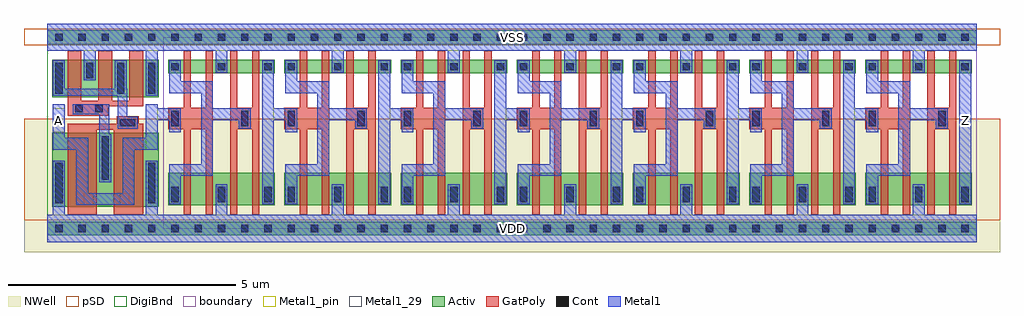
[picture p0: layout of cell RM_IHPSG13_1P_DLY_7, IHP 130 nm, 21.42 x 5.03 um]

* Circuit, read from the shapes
.subckt RM_IHPSG13_1P_DLY_7 A VDD VSS Z
XM1 VSS n1 n2 VSS sg13_lv_nmos w=0.83u l=0.3u m=3
XM2 n3 A n4 VSS sg13_lv_nmos w=0.3u l=0.16u
XM3 VSS A n3 VSS sg13_lv_nmos w=0.3u l=0.16u
XM4 n5 n4 VSS VSS sg13_lv_nmos w=0.3u l=0.16u
XM5 RSC_IHPSG13_CDLYX1_6/A n4 n5 VSS sg13_lv_nmos w=0.3u l=0.16u
XM6 n6 RSC_IHPSG13_CDLYX1_6/A n7 VSS sg13_lv_nmos w=0.3u l=0.16u
XM7 VSS RSC_IHPSG13_CDLYX1_6/A n6 VSS sg13_lv_nmos w=0.3u l=0.16u
XM8 n8 n7 VSS VSS sg13_lv_nmos w=0.3u l=0.16u
XM9 RSC_IHPSG13_CDLYX1_5/A n7 n8 VSS sg13_lv_nmos w=0.3u l=0.16u
XM10 n9 RSC_IHPSG13_CDLYX1_5/A n10 VSS sg13_lv_nmos w=0.3u l=0.16u
XM11 VSS RSC_IHPSG13_CDLYX1_5/A n9 VSS sg13_lv_nmos w=0.3u l=0.16u
XM12 n11 n10 VSS VSS sg13_lv_nmos w=0.3u l=0.16u
XM13 RSC_IHPSG13_CDLYX1_4/A n10 n11 VSS sg13_lv_nmos w=0.3u l=0.16u
XM14 n12 RSC_IHPSG13_CDLYX1_4/A n13 VSS sg13_lv_nmos w=0.3u l=0.16u
XM15 VSS RSC_IHPSG13_CDLYX1_4/A n12 VSS sg13_lv_nmos w=0.3u l=0.16u
XM16 n14 n13 VSS VSS sg13_lv_nmos w=0.3u l=0.16u
XM17 RSC_IHPSG13_CDLYX1_3/A n13 n14 VSS sg13_lv_nmos w=0.3u l=0.16u
XM18 n15 RSC_IHPSG13_CDLYX1_3/A n16 VSS sg13_lv_nmos w=0.3u l=0.16u
XM19 VSS RSC_IHPSG13_CDLYX1_3/A n15 VSS sg13_lv_nmos w=0.3u l=0.16u
XM20 n17 n16 VSS VSS sg13_lv_nmos w=0.3u l=0.16u
XM21 RSC_IHPSG13_CDLYX1_2/A n16 n17 VSS sg13_lv_nmos w=0.3u l=0.16u
XM22 n18 RSC_IHPSG13_CDLYX1_2/A n19 VSS sg13_lv_nmos w=0.3u l=0.16u
XM23 VSS RSC_IHPSG13_CDLYX1_2/A n18 VSS sg13_lv_nmos w=0.3u l=0.16u
XM24 n20 n19 VSS VSS sg13_lv_nmos w=0.3u l=0.16u
XM25 RSC_IHPSG13_CDLYX1_1/A n19 n20 VSS sg13_lv_nmos w=0.3u l=0.16u
XM26 n21 RSC_IHPSG13_CDLYX1_1/A n22 VSS sg13_lv_nmos w=0.3u l=0.16u
XM27 VSS RSC_IHPSG13_CDLYX1_1/A n21 VSS sg13_lv_nmos w=0.3u l=0.16u
XM28 n23 n22 VSS VSS sg13_lv_nmos w=0.3u l=0.16u
XM29 Z n22 n23 VSS sg13_lv_nmos w=0.3u l=0.16u
XM30 n1 n2 VDD VDD sg13_lv_pmos w=1.62u l=0.64u m=2
XM31 n24 A n4 VDD sg13_lv_pmos w=0.72u l=0.16u
XM32 VDD A n24 VDD sg13_lv_pmos w=0.72u l=0.16u
XM33 n25 n4 VDD VDD sg13_lv_pmos w=0.72u l=0.16u
XM34 RSC_IHPSG13_CDLYX1_6/A n4 n25 VDD sg13_lv_pmos w=0.72u l=0.16u
XM35 n26 RSC_IHPSG13_CDLYX1_6/A n7 VDD sg13_lv_pmos w=0.72u l=0.16u
XM36 VDD RSC_IHPSG13_CDLYX1_6/A n26 VDD sg13_lv_pmos w=0.72u l=0.16u
XM37 n27 n7 VDD VDD sg13_lv_pmos w=0.72u l=0.16u
XM38 RSC_IHPSG13_CDLYX1_5/A n7 n27 VDD sg13_lv_pmos w=0.72u l=0.16u
XM39 n28 RSC_IHPSG13_CDLYX1_5/A n10 VDD sg13_lv_pmos w=0.72u l=0.16u
XM40 VDD RSC_IHPSG13_CDLYX1_5/A n28 VDD sg13_lv_pmos w=0.72u l=0.16u
XM41 n29 n10 VDD VDD sg13_lv_pmos w=0.72u l=0.16u
XM42 RSC_IHPSG13_CDLYX1_4/A n10 n29 VDD sg13_lv_pmos w=0.72u l=0.16u
XM43 n30 RSC_IHPSG13_CDLYX1_4/A n13 VDD sg13_lv_pmos w=0.72u l=0.16u
XM44 VDD RSC_IHPSG13_CDLYX1_4/A n30 VDD sg13_lv_pmos w=0.72u l=0.16u
XM45 n31 n13 VDD VDD sg13_lv_pmos w=0.72u l=0.16u
XM46 RSC_IHPSG13_CDLYX1_3/A n13 n31 VDD sg13_lv_pmos w=0.72u l=0.16u
XM47 n32 RSC_IHPSG13_CDLYX1_3/A n16 VDD sg13_lv_pmos w=0.72u l=0.16u
XM48 VDD RSC_IHPSG13_CDLYX1_3/A n32 VDD sg13_lv_pmos w=0.72u l=0.16u
XM49 n33 n16 VDD VDD sg13_lv_pmos w=0.72u l=0.16u
XM50 RSC_IHPSG13_CDLYX1_2/A n16 n33 VDD sg13_lv_pmos w=0.72u l=0.16u
XM51 n34 RSC_IHPSG13_CDLYX1_2/A n19 VDD sg13_lv_pmos w=0.72u l=0.16u
XM52 VDD RSC_IHPSG13_CDLYX1_2/A n34 VDD sg13_lv_pmos w=0.72u l=0.16u
XM53 n35 n19 VDD VDD sg13_lv_pmos w=0.72u l=0.16u
XM54 RSC_IHPSG13_CDLYX1_1/A n19 n35 VDD sg13_lv_pmos w=0.72u l=0.16u
XM55 n36 RSC_IHPSG13_CDLYX1_1/A n22 VDD sg13_lv_pmos w=0.72u l=0.16u
XM56 VDD RSC_IHPSG13_CDLYX1_1/A n36 VDD sg13_lv_pmos w=0.72u l=0.16u
XM57 n37 n22 VDD VDD sg13_lv_pmos w=0.72u l=0.16u
XM58 Z n22 n37 VDD sg13_lv_pmos w=0.72u l=0.16u
.ends

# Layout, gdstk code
from math import pi, radians
import gdstk
lib = gdstk.Library(unit=1e-6, precision=1e-09)
def R(c, l, rs):  # rectangles x0, y0, x1, y1
    for r in rs: c.add(gdstk.rectangle(r[:2], r[2:], *l))
def A(c, l, x, y, w, h, nx, ny, dx, dy):  # array of equal rectangles
    R(c, l, [(x+i*dx, y+j*dy, x+i*dx+w, y+j*dy+h) for i in range(nx) for j in range(ny)])
def P(c, l, *ps):  # polygons
    for p in ps: c.add(gdstk.Polygon(p, *l))
Activ = (1, 0)
GatPoly = (5, 0)
Cont = (6, 0)
Metal1 = (8, 0)
Metal1_pin = (8, 2)
Metal1_29 = (8, 29)
pSD = (14, 0)
DigiBnd = (16, 0)
NWell = (31, 0)
boundary = (189, 4)

lvsres_db_0x04007e9a = lib.new_cell('lvsres_db_0x04007e9a')
R(lvsres_db_0x04007e9a, Metal1, [(-0.5,0,0.5,0.26)])
R(lvsres_db_0x04007e9a, Metal1_pin, [(-0.5,0,-0.3,0.26), (0.3,0,0.5,0.26)])
R(lvsres_db_0x04007e9a, Metal1_29, [(-0.3,0,0.3,0.26)])
lvsres_db_0x04007e9a.add(gdstk.Label('PLUS', (-0.4,0.13), layer=63, texttype=0))
lvsres_db_0x04007e9a.add(gdstk.Label('MINUS', (0.4,0.13), layer=63, texttype=0))

rsc_ihpsg13_cdlyx1_dummy = lib.new_cell('RSC_IHPSG13_CDLYX1_DUMMY')
R(rsc_ihpsg13_cdlyx1_dummy, Activ, [(0,-0.15,2.55,0.15), (0.105,0.49,2.445,1.32), (0.105,2.1,2.445,3.72), (0,4.05,2.55,4.35)])
P(rsc_ihpsg13_cdlyx1_dummy, GatPoly, [(1.525,1.73),(1.525,1.9),(0.445,1.9),(0.445,3.9),(1.085,3.9),(1.085,2.03),(1.465,2.03),(1.465,3.9),(2.105,3.9),(2.105,1.9),(2.005,1.9),(2.005,1.73)],
  [(0.445,0.3),(0.445,1.72),(1.34,1.72),(1.34,1.52),(2.105,1.52),(2.105,0.3),(1.805,0.3),(1.805,1.39),(1.425,1.39),(1.425,0.3),(1.125,0.3),(1.125,1.39),(0.745,1.39),(0.745,0.3)])
A(rsc_ihpsg13_cdlyx1_dummy, Cont, 0.175, -0.08, 0.16, 0.16, 5, 2, 0.51, 4.2)
R(rsc_ihpsg13_cdlyx1_dummy, Cont, [(0.175,0.56,0.335,1.24), (0.855,0.56,1.015,0.9), (1.535,0.56,1.695,1.24), (2.215,0.56,2.375,1.24), (0.615,1.49,0.775,1.65), (1.055,1.49,1.215,1.65), (1.595,1.8,1.935,1.96), (1.195,2.175,1.355,3.13), (0.175,2.76,0.335,3.65), (2.215,2.76,2.375,3.65)])
R(rsc_ihpsg13_cdlyx1_dummy, Metal1, [(0.125,1.47,0.385,2.465), (2.165,1.47,2.425,2.465), (0.125,2.205,0.895,2.465), (0.635,2.205,0.895,3.68), (1.655,2.205,1.915,3.68), (1.655,2.205,2.425,2.465), (0.635,3.42,1.915,3.68)])
P(rsc_ihpsg13_cdlyx1_dummy, Metal1, [(0,-0.3),(0,0.3),(0.805,0.3),(0.805,0.95),(1.065,0.95),(1.065,0.3),(2.165,0.3),(2.165,1.29),(2.425,1.29),(2.425,0.3),(2.55,0.3),(2.55,-0.3)],
  [(0.125,2.71),(0.125,3.9),(0,3.9),(0,4.5),(2.55,4.5),(2.55,3.9),(2.425,3.9),(2.425,2.71),(2.165,2.71),(2.165,3.9),(0.385,3.9),(0.385,2.71)],
  [(0.565,1.47),(0.565,1.69),(1.145,1.69),(1.145,3.18),(1.405,3.18),(1.405,2.125),(1.365,2.125),(1.365,1.47)],
  [(0.125,0.51),(0.125,1.29),(1.545,1.29),(1.545,2.01),(1.985,2.01),(1.985,1.75),(1.755,1.75),(1.755,1.13),(1.745,1.13),(1.745,0.51),(1.485,0.51),(1.485,1.13),(0.385,1.13),(0.385,0.51)])
R(rsc_ihpsg13_cdlyx1_dummy, Metal1_pin, [(0,-0.3,2.55,0.3), (2.165,1.47,2.425,2.465), (0.125,1.56,0.385,2.09), (0,3.9,2.55,4.5)])
R(rsc_ihpsg13_cdlyx1_dummy, pSD, [(-0.51,-0.18,3.06,0.18), (-0.51,1.785,3.06,4.02)])
R(rsc_ihpsg13_cdlyx1_dummy, DigiBnd, [(0,-0.3,2.55,4.5)])
R(rsc_ihpsg13_cdlyx1_dummy, NWell, [(-0.51,1.785,3.06,4.725)])
rsc_ihpsg13_cdlyx1_dummy.add(gdstk.Reference(lvsres_db_0x04007e9a, (1.305,3.68), rotation=pi))
rsc_ihpsg13_cdlyx1_dummy.add(gdstk.Label('VSS!', (1.155,0.005), layer=8, texttype=2))
rsc_ihpsg13_cdlyx1_dummy.add(gdstk.Label('VDD!', (0.84,4.2), layer=8, texttype=2))
rsc_ihpsg13_cdlyx1_dummy.add(gdstk.Label('Z', (2.3,1.755), layer=8, texttype=25))
rsc_ihpsg13_cdlyx1_dummy.add(gdstk.Label('A', (0.265,1.785), layer=8, texttype=25))

rsc_ihpsg13_cdlyx1 = lib.new_cell('RSC_IHPSG13_CDLYX1')
R(rsc_ihpsg13_cdlyx1, Activ, [(0,-0.15,2.55,0.15), (0.105,0.49,2.445,0.79), (0.105,2.97,2.445,3.69), (0,4.05,2.55,4.35)])
P(rsc_ihpsg13_cdlyx1, GatPoly, [(0.445,0.3),(0.445,1.545),(0.105,1.545),(0.105,2.025),(0.445,2.025),(0.445,3.9),(0.605,3.9),(0.605,2.025),(0.925,2.025),(0.925,3.9),(1.085,3.9),(1.085,0.3),(0.925,0.3),(0.925,1.545),(0.605,1.545),(0.605,0.3)],
  [(1.465,0.3),(1.465,3.9),(1.625,3.9),(1.625,2.025),(1.945,2.025),(1.945,3.9),(2.105,3.9),(2.105,0.3),(1.945,0.3),(1.945,1.545),(1.625,1.545),(1.625,0.3)])
A(rsc_ihpsg13_cdlyx1, Cont, 0.175, -0.08, 0.16, 0.16, 5, 2, 0.51, 4.2)
A(rsc_ihpsg13_cdlyx1, Cont, 0.175, 0.57, 0.16, 0.16, 3, 1, 1.02, 0)
A(rsc_ihpsg13_cdlyx1, Cont, 0.175, 3.28, 0.16, 0.34, 3, 1, 1.02, 0)
R(rsc_ihpsg13_cdlyx1, Cont, [(0.175,1.615,0.335,1.955), (1.705,1.615,1.865,1.955)])
R(rsc_ihpsg13_cdlyx1, Metal1, [(0,-0.3,2.55,0.3), (1.145,0.3,1.405,0.78), (2.165,0.51,2.425,3.67), (0.125,1.56,0.385,2.09)])
P(rsc_ihpsg13_cdlyx1, Metal1, [(1.145,3.23),(1.145,3.9),(0,3.9),(0,4.5),(2.55,4.5),(2.55,3.9),(1.405,3.9),(1.405,3.23)],
  [(0.125,0.51),(0.125,1.23),(0.825,1.23),(0.825,2.79),(0.125,2.79),(0.125,3.67),(0.385,3.67),(0.385,3.04),(1.085,3.04),(1.085,1.82),(1.655,1.82),(1.655,2.005),(1.915,2.005),(1.915,1.56),(1.085,1.56),(1.085,0.97),(0.385,0.97),(0.385,0.51)])
R(rsc_ihpsg13_cdlyx1, Metal1_pin, [(0,-0.3,2.55,0.3), (2.165,0.51,2.425,3.67), (0.125,1.56,0.385,2.09), (0,3.9,2.55,4.5)])
R(rsc_ihpsg13_cdlyx1, pSD, [(-0.51,-0.18,3.06,0.18), (-0.51,1.785,3.06,4.02)])
R(rsc_ihpsg13_cdlyx1, DigiBnd, [(0,-0.3,2.55,4.5)])
R(rsc_ihpsg13_cdlyx1, NWell, [(-0.51,1.785,3.06,4.725)])
R(rsc_ihpsg13_cdlyx1, boundary, [(0,0,2.55,4.2)])
rsc_ihpsg13_cdlyx1.add(gdstk.Label('Z', (2.3,1.755), layer=8, texttype=25))
rsc_ihpsg13_cdlyx1.add(gdstk.Label('VSS!', (0.465,0), layer=8, texttype=25))
rsc_ihpsg13_cdlyx1.add(gdstk.Label('A', (0.265,1.785), layer=8, texttype=25))
rsc_ihpsg13_cdlyx1.add(gdstk.Label('VDD!', (0.51,4.2), layer=8, texttype=25))

rm_ihpsg13_1p_dly_7 = lib.new_cell('RM_IHPSG13_1P_DLY_7')
A(rm_ihpsg13_1p_dly_7, Metal1, 2.425, 2.38, 0.25, 0.26, 7, 1, 2.55, 0)
R(rm_ihpsg13_1p_dly_7, Metal1_pin, [(0,-0.3,20.4,0.3), (0.125,2.11,0.385,2.64), (20.015,2.11,20.275,2.64), (0,3.9,20.4,4.5)])
rm_ihpsg13_1p_dly_7.add(gdstk.Reference(rsc_ihpsg13_cdlyx1_dummy, (0,4.2), x_reflection=True))
rm_ihpsg13_1p_dly_7.add(gdstk.Reference(rsc_ihpsg13_cdlyx1, (17.85,4.2), x_reflection=True))
rm_ihpsg13_1p_dly_7.add(gdstk.Reference(rsc_ihpsg13_cdlyx1, (15.3,4.2), x_reflection=True))
rm_ihpsg13_1p_dly_7.add(gdstk.Reference(rsc_ihpsg13_cdlyx1, (12.75,4.2), x_reflection=True))
rm_ihpsg13_1p_dly_7.add(gdstk.Reference(rsc_ihpsg13_cdlyx1, (10.2,4.2), x_reflection=True))
rm_ihpsg13_1p_dly_7.add(gdstk.Reference(rsc_ihpsg13_cdlyx1, (7.65,4.2), x_reflection=True))
rm_ihpsg13_1p_dly_7.add(gdstk.Reference(rsc_ihpsg13_cdlyx1, (5.1,4.2), x_reflection=True))
rm_ihpsg13_1p_dly_7.add(gdstk.Reference(rsc_ihpsg13_cdlyx1, (2.55,4.2), x_reflection=True))
rm_ihpsg13_1p_dly_7.add(gdstk.Label('Z', (20.145,2.375), layer=8, texttype=25))
rm_ihpsg13_1p_dly_7.add(gdstk.Label('A', (0.255,2.375), layer=8, texttype=25))
rm_ihpsg13_1p_dly_7.add(gdstk.Label('VSS', (10.2,4.2), layer=8, texttype=25))
rm_ihpsg13_1p_dly_7.add(gdstk.Label('VDD', (10.2,0), layer=8, texttype=25))

lib.write_gds('RM_IHPSG13_1P_DLY_7.gds')
